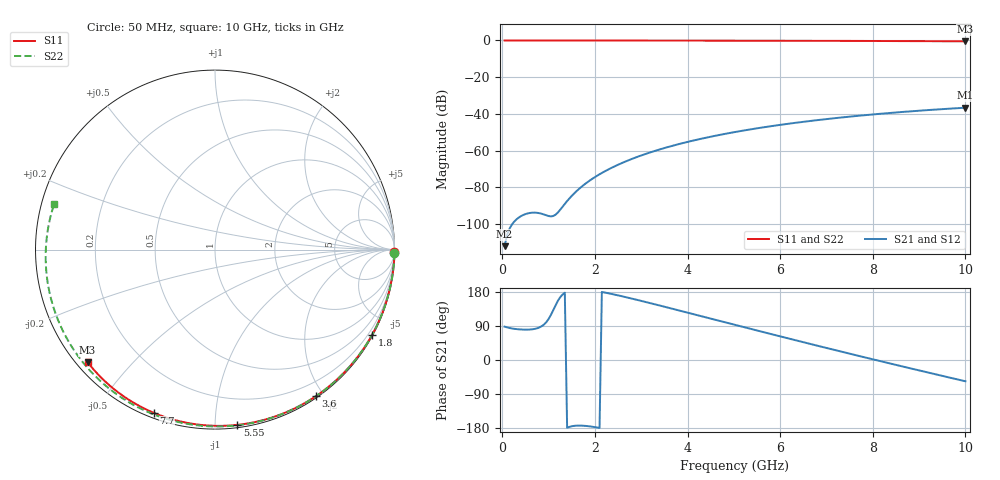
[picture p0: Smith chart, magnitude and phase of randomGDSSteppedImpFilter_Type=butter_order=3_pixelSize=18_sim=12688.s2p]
! freq	dB(S11)	phase(S11)	dB(S12)	phase(S12)
!  dB(S21)	phase(S21)	dB(S22)	phase(S22)
!S-par simulation data
#  GHz  S  DB  R 50
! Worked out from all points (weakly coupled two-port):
!   200 points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, 50 MHz to 10 GHz, reference 50 ohm
!   highest |S21| = -36.65 dB at 10 GHz (marker M1); lowest = -112.1 dB at 50 MHz (marker M2)
!   lowest |S11| = -0.5 dB at 10 GHz (marker M3), VSWR 36.96, Z = 1.55 - j18.9 ohm
!   |S11| at or under -10 dB: nowhere
!   |S22| runs from -0.6 to 0.0 dB; largest |S21 - S12| = 0
!   S11 on the Smith chart (normalised r, x): 50 MHz: open; 1.8 GHz: 0.03, -3.95; 3.6 GHz: 0.02, -1.90; 5.55 GHz: 0.02, -1.13; 7.7 GHz: 0.02, -0.69; 10 GHz: 0.03, -0.38
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0.05  -0.00 -0.8  -112.09 88.0  -112.09 88.0  -0.00 -1.1
0.4  -0.01 -6.4  -95.77 80.5  -95.77 80.5  -0.01 -8.9
0.8  -0.02 -12.8  -94.11 85.9  -94.11 85.9  -0.02 -17.6
1.2  -0.02 -19.1  -93.74 156.2  -93.74 156.2  -0.03 -26.3
1.65  -0.03 -26.1  -81.02 -173.1  -81.02 -173.1  -0.05 -35.9
1.7  -0.03 -26.9  -79.94 -173.1  -79.94 -173.1  -0.05 -37.0
1.75  -0.04 -27.6  -78.91 -173.4  -78.91 -173.4  -0.05 -38.1
1.8  -0.04 -28.4  -77.94 -173.9  -77.94 -173.9  -0.05 -39.1
2.1  -0.04 -33.0  -72.91 -179.2  -72.91 -179.2  -0.06 -45.4
2.5  -0.05 -39.1  -67.72 170.6  -67.72 170.6  -0.07 -53.7
2.9  -0.06 -45.2  -63.57 159.0  -63.57 159.0  -0.08 -61.9
3.4  -0.07 -52.6  -59.36 143.8  -59.36 143.8  -0.09 -71.9
3.6  -0.07 -55.5  -57.90 137.5  -57.90 137.5  -0.10 -75.8
4.3  -0.09 -65.6  -53.53 115.5  -53.53 115.5  -0.13 -89.3
5.05  -0.12 -76.0  -49.78 91.9  -49.78 91.9  -0.16 -103.4
5.55  -0.14 -82.8  -47.67 76.3  -47.67 76.3  -0.18 -112.5
6.1  -0.16 -90.1  -45.64 59.3  -45.64 59.3  -0.22 -122.5
6.7  -0.19 -97.9  -43.71 40.9  -43.71 40.9  -0.26 -133.2
7.7  -0.25 -110.5  -41.01 10.7  -41.01 10.7  -0.34 -151.3
8.35  -0.30 -118.6  -39.55 -8.5  -39.55 -8.5  -0.41 -163.3
9.2  -0.38 -128.9  -37.92 -33.3  -37.92 -33.3  -0.51 -179.6
10  -0.47 -138.5  -36.65 -56.1  -36.65 -56.1  -0.62 164.1
